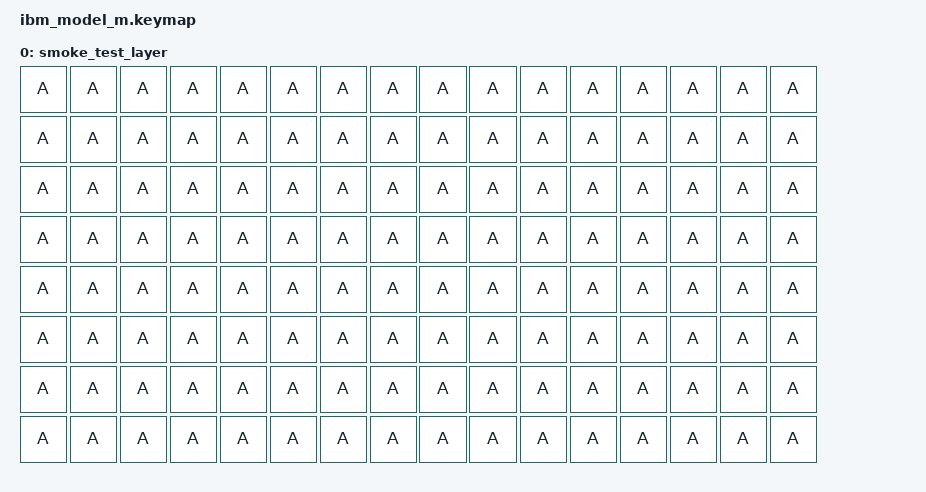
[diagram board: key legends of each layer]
#include <behaviors.dtsi>
#include <dt-bindings/zmk/keys.h>

/ {
    keymap {
        compatible = "zmk,keymap";

        smoke_test_layer {
            bindings = <
                &kp A &kp A &kp A &kp A &kp A &kp A &kp A &kp A &kp A &kp A &kp A &kp A &kp A &kp A &kp A &kp A
                &kp A &kp A &kp A &kp A &kp A &kp A &kp A &kp A &kp A &kp A &kp A &kp A &kp A &kp A &kp A &kp A
                &kp A &kp A &kp A &kp A &kp A &kp A &kp A &kp A &kp A &kp A &kp A &kp A &kp A &kp A &kp A &kp A
                &kp A &kp A &kp A &kp A &kp A &kp A &kp A &kp A &kp A &kp A &kp A &kp A &kp A &kp A &kp A &kp A
                &kp A &kp A &kp A &kp A &kp A &kp A &kp A &kp A &kp A &kp A &kp A &kp A &kp A &kp A &kp A &kp A
                &kp A &kp A &kp A &kp A &kp A &kp A &kp A &kp A &kp A &kp A &kp A &kp A &kp A &kp A &kp A &kp A
                &kp A &kp A &kp A &kp A &kp A &kp A &kp A &kp A &kp A &kp A &kp A &kp A &kp A &kp A &kp A &kp A
                &kp A &kp A &kp A &kp A &kp A &kp A &kp A &kp A &kp A &kp A &kp A &kp A &kp A &kp A &kp A &kp A
            >;
        };
    };
};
